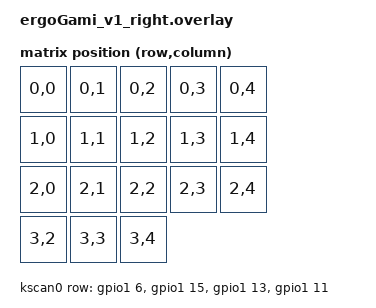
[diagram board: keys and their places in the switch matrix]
// Devicetree file
#include <dt-bindings/zmk/matrix_transform.h>

&gpio0 {
    status = "okay";  // Ensure gpio0 is enabled
};

&gpio1 {
    status = "okay";  // Ensure gpio1 is enabled
};

/ {
    chosen {
        zmk,kscan = &kscan0;
        zmk,matrix_transform = &default_transform;
        zmk,display = &nice_view;
    };

    // Keyboard matrix (6x4 left, 5x4 right)
    default_transform: keymap_transform_0 {
        compatible = "zmk,matrix-transform";
        columns = <6>;  // Left half: 6 cols
        rows = <4>;     // All rows
        map = <
            // Left half (18 keys)
            RC(0,0) RC(0,1) RC(0,2) RC(0,3) RC(0,4) 
            RC(1,0) RC(1,1) RC(1,2) RC(1,3) RC(1,4) 
            RC(2,0) RC(2,1) RC(2,2) RC(2,3) RC(2,4) 
            RC(3,2) RC(3,3) RC(3,4)
        >;
    };

    kscan0: kscan {
        compatible = "zmk,kscan-gpio-matrix";
        
        diode-direction = "col2row";
        row-gpios = <
            &gpio1 6  (GPIO_ACTIVE_HIGH | GPIO_PULL_DOWN)  // Row 0 (P1.06)
            &gpio1 15 (GPIO_ACTIVE_HIGH | GPIO_PULL_DOWN)  // Row 1 (P1.15)
            &gpio1 13 (GPIO_ACTIVE_HIGH | GPIO_PULL_DOWN)  // Row 2 (P1.13)
            &gpio1 11 (GPIO_ACTIVE_HIGH | GPIO_PULL_DOWN)  // Row 3 (P1.11)
        >;
    };

    nice_view_behavior: behavior_nice_view {
        compatible = "zmk,behavior-nice-view";
        #binding-cells = <0>;
        display = <&nice_view>;
        widgets = <
            &layer_status
            &battery_status
            &output_status
        >;
    };
};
